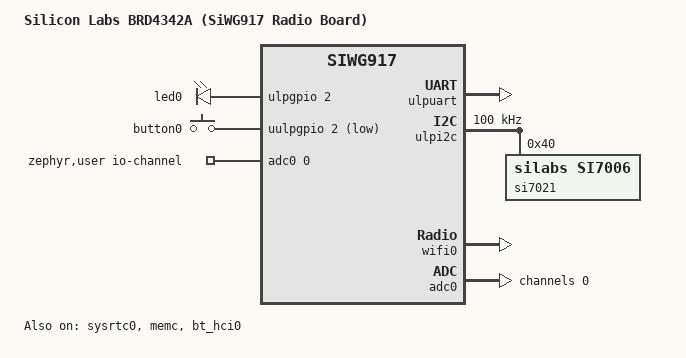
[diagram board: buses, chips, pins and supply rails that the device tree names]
/*
 * Copyright (c) 2023 Antmicro
 * Copyright (c) 2025 Silicon Laboratories Inc.
 * SPDX-License-Identifier: Apache-2.0
 */

/dts-v1/;
#include <silabs/siwg917m111mgtba.dtsi>
#include <zephyr/dt-bindings/adc/silabs-siwx91x-adc.h>
#include <zephyr/dt-bindings/gpio/gpio.h>
#include <zephyr/dt-bindings/input/input-event-codes.h>
#include <zephyr/dt-bindings/memory-attr/memory-attr-arm.h>
#include <zephyr/dt-bindings/pinctrl/silabs/siwx91x-pinctrl.h>
#include <freq.h>
#include "siwx917_rb4342a-pinctrl.dtsi"

/ {
	model = "Silicon Labs BRD4342A (SiWG917 Radio Board)";
	compatible = "silabs,x917_rb4342a", "silabs,siwg917";

	chosen {
		zephyr,bt-hci = &bt_hci0;
		zephyr,code-partition = &code_partition;
		zephyr,console = &ulpuart;
		zephyr,shell-uart = &ulpuart;
		zephyr,sram = &sram0;
		zephyr,uart-pipe = &ulpuart;
	};

	aliases {
		dht0 = &si7021;
		led0 = &led0;
		sw0 = &button0;
		adc0 = &adc0;
	};

	leds {
		compatible = "gpio-leds";

		led0: led_0 {
			gpios = <&ulpgpio 2 GPIO_ACTIVE_HIGH>;
		};
	};

	buttons {
		compatible = "gpio-keys";

		button0: button_0 {
			gpios = <&uulpgpio 2 GPIO_ACTIVE_LOW>;
			zephyr,code = <INPUT_KEY_0>;
		};
	};

	zephyr,user {
		io-channels = <&adc0 0>;
	};
};

&cpu0 {
	clock-frequency = <180000000>;
};

&ulpuart {
	pinctrl-0 = <&ulpuart_default>;
	pinctrl-names = "default";
	status = "okay";
};

&ulpi2c {
	clock-frequency = <DT_FREQ_K(100)>;
	pinctrl-0 = <&ulpi2c_default>;
	pinctrl-names = "default";
	status = "okay";

	si7021: si7021@40 {
		compatible = "silabs,si7006";
		reg = <0x40>;
	};
};

&flash0 {
	partitions {
		compatible = "fixed-partitions";
		#address-cells = <1>;
		#size-cells = <1>;

		code_partition: partition@202000 {
			reg = <0x00202000 DT_SIZE_K(2008)>;
			label = "code_partition";
		};

		storage_partition: partition@3f8000 {
			reg = <0x003f8000 DT_SIZE_K(32)>;
			label = "storage";
		};
	};
};

&sysrtc0 {
	status = "okay";
};

&memc {
	clocks = <&clock0 SIWX91X_CLK_QSPI>;
	pinctrl-0 = <&psram_default>;
	pinctrl-names = "default";
	device-id = [0d 5d 00 00 00 00 00 00];
	fast-freq = <DT_FREQ_M(144)>;
	normal-freq = <DT_FREQ_M(33)>;
	status = "okay";

	psram: psram@a000000 {
		compatible = "zephyr,memory-region", "mmio-sram";
		reg = <0xa000000 DT_SIZE_M(8)>;
		zephyr,memory-attr = <DT_MEM_ARM(ATTR_MPU_RAM)>;
		zephyr,memory-region = "psram";
	};
};

&bt_hci0 {
	status = "okay";
};

&wifi0 {
	status = "okay";
};

&adc0 {
	pinctrl-0 = <&adc0_default>;
	pinctrl-names = "default";
	silabs,adc-ref-voltage = <3300>;

	channel@0 {
		reg = <0>;
		zephyr,gain = "ADC_GAIN_1";
		zephyr,reference = "ADC_REF_INTERNAL";
		zephyr,acquisition-time = <0>;
		zephyr,resolution = <12>;
		zephyr,input-positive = <SIWX91X_ADC_INPUT_HP28>;
	};

	status = "okay";
};
